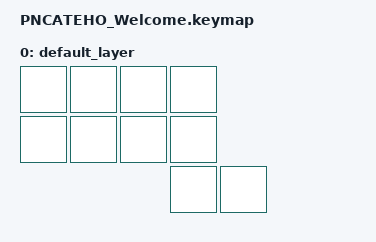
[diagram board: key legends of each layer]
// Copyright (c) 2023 The ZMK Contributors
// SPDX-License-Identifier: MIT

#include <behaviors.dtsi>
#include <dt-bindings/zmk/keys.h>

// CONFIG
#define COMBO_TIMEOUT 70
#define STICKY_TIMEOUT 500

&sk {
    release-after-ms = <STICKY_TIMEOUT>;
    quick-release;
};

/ {
  combos {
    compatible = "zmk,combos";
  };

  keymap {
    compatible = "zmk,keymap";

    default_layer {
      bindings = <
        &none &none &none &none
        &none &none &none &none
                          &none &none
      >;
    };
  };
};

